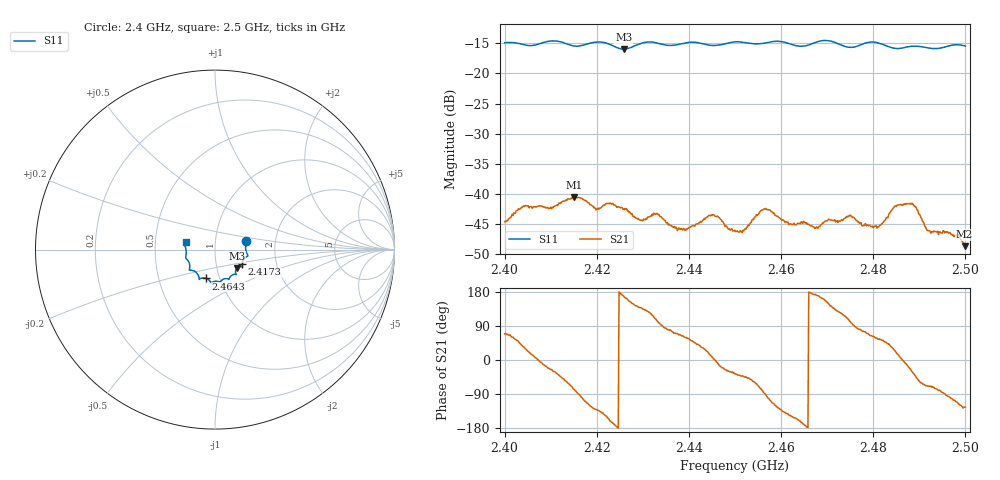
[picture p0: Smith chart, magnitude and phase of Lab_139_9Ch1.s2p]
# Hz S RI R 50
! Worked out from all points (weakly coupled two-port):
!   601 points, 2.4 GHz to 2.5 GHz, reference 50 ohm
!   highest |S21| = -40.53 dB at 2.415 GHz (marker M1); lowest = -48.7 dB at 2.4998 GHz (marker M2)
!   lowest |S11| = -15.9 dB at 2.4258 GHz (marker M3), VSWR 1.38, Z = 62.2 - j13.2 ohm
!   |S11| at or under -10 dB: start of sweep to end of sweep
!   S12 and S22 are empty: the file has one direction only
!   S11 on the Smith chart (normalised r, x): 2.4 GHz: 1.41, +0.14; 2.4173 GHz: 1.34, -0.23; 2.4643 GHz: 0.86, -0.28; 2.5 GHz: 0.72, +0.06
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2.4e9  0.1733 0.0488  0.00209 0.00546  0 0  0 0
2.404167e9  0.1721 0.0233  0.00656 0.00448  0 0  0 0
2.41e9  0.1832 -0.033  0.00701 -0.00326  0 0  0 0
2.415e9  0.1599 -0.0556  0.00213 -0.00917  0 0  0 0
2.416667e9  0.1533 -0.0747  -0.00123 -0.00906  0 0  0 0
2.417333e9  0.1522 -0.0824  -0.00267 -0.00839  0 0  0 0
2.425833e9  0.1213 -0.1035  -0.00731 0.00146  0 0  0 0
2.4295e9  0.1164 -0.1341  -0.00447 0.00403  0 0  0 0
2.433333e9  0.113 -0.1374  -0.0012 0.00658  0 0  0 0
2.439e9  0.0802 -0.1597  0.00246 0.00439  0 0  0 0
2.445333e9  0.0527 -0.1625  0.00669 0.000344  0 0  0 0
2.45e9  0.0287 -0.1809  0.00398 -0.00297  0 0  0 0
2.456333e9  -0.0088 -0.1786  0.000331 -0.00746  0 0  0 0
2.464333e9  -0.0501 -0.1607  -0.00564 -0.0015  0 0  0 0
2.466667e9  -0.0761 -0.1592  -0.00541 0.000414  0 0  0 0
2.474833e9  -0.1045 -0.1277  -0.00156 0.00638  0 0  0 0
2.4805e9  -0.1433 -0.1116  0.00286 0.00453  0 0  0 0
2.483333e9  -0.1407 -0.09  0.00486 0.00456  0 0  0 0
2.488333e9  -0.1614 -0.0483  0.00709 -0.00412  0 0  0 0
2.492e9  -0.1609 -0.0256  0.00176 -0.0046  0 0  0 0
2.499833e9  -0.1647 0.0415  -0.00206 -0.00303  0 0  0 0
2.5e9  -0.1637 0.0425  -0.00208 -0.00307  0 0  0 0
